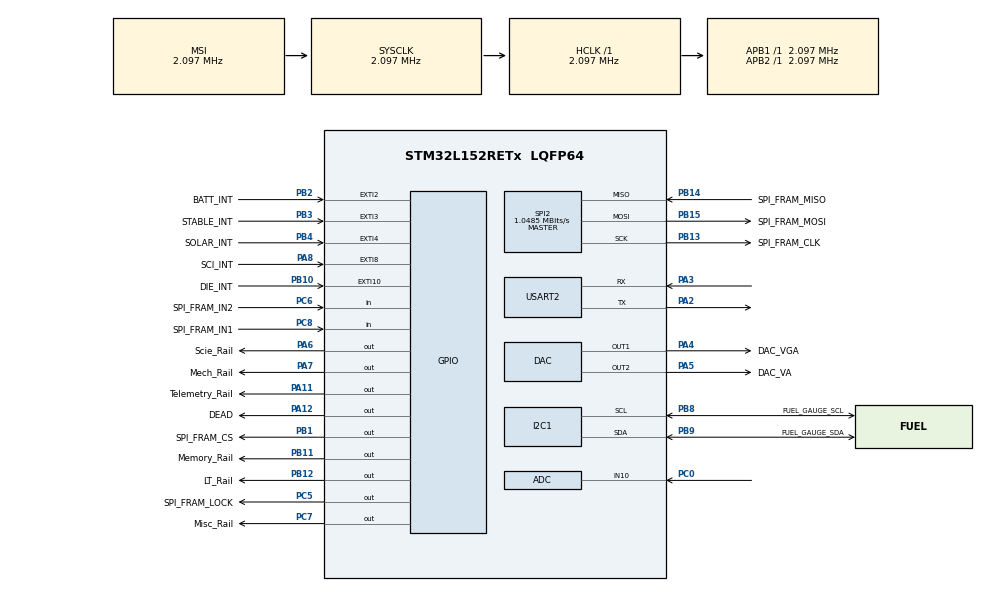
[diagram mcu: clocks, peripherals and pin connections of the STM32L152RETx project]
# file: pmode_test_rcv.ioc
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ADC.Channel-5\#ChannelRegularConversion=ADC_CHANNEL_10
ADC.NbrOfConversionFlag=1
ADC.Rank-5\#ChannelRegularConversion=1
ADC.SamplingTime-5\#ChannelRegularConversion=ADC_SAMPLETIME_4CYCLES
Mcu.Family=STM32L1
Mcu.Name=STM32L152RETx
Mcu.Package=LQFP64
NVIC.EXTI15_10_IRQn=true\:0\:0\:false\:false\:true\:true
NVIC.EXTI2_IRQn=true\:0\:0\:false\:false\:true\:true
NVIC.EXTI3_IRQn=true\:0\:0\:false\:false\:true\:true
NVIC.EXTI4_IRQn=true\:0\:0\:false\:false\:true\:true
NVIC.EXTI9_5_IRQn=true\:0\:0\:false\:false\:true\:true
NVIC.PriorityGroup=NVIC_PRIORITYGROUP_4
PA11.GPIO_Label=Telemetry_Rail
PA11.Signal=GPIO_Output
PA12.GPIO_Label=DEAD
PA12.Signal=GPIO_Output
PA2.Mode=Asynchronous
PA2.Signal=USART2_TX
PA3.Mode=Asynchronous
PA3.Signal=USART2_RX
PA4.GPIO_Label=DAC_VGA
PA4.Signal=COMP_DAC1_group
PA5.GPIO_Label=DAC_VA
PA5.Signal=COMP_DAC2_group
PA6.GPIO_Label=Scie_Rail
PA6.Signal=GPIO_Output
PA7.GPIO_Label=Mech_Rail
PA7.Signal=GPIO_Output
PA8.GPIO_Label=SCI_INT
PA8.Signal=GPXTI8
PB1.GPIO_Label=SPI_FRAM_CS
PB1.Signal=GPIO_Output
PB10.GPIO_Label=DIE_INT
PB10.Signal=GPXTI10
PB11.GPIO_Label=Memory_Rail
PB11.Signal=GPIO_Output
PB12.GPIO_Label=LT_Rail
PB12.Signal=GPIO_Output
PB13.GPIO_Label=SPI_FRAM_CLK
PB13.Mode=Full_Duplex_Master
PB13.Signal=SPI2_SCK
PB14.GPIO_Label=SPI_FRAM_MISO
PB14.Mode=Full_Duplex_Master
PB14.Signal=SPI2_MISO
PB15.GPIO_Label=SPI_FRAM_MOSI
PB15.Mode=Full_Duplex_Master
PB15.Signal=SPI2_MOSI
PB2.GPIO_Label=BATT_INT
PB2.Signal=GPXTI2
PB3.GPIO_Label=STABLE_INT
PB3.Signal=GPXTI3
PB4.GPIO_Label=SOLAR_INT
PB4.Signal=GPXTI4
PB8.GPIO_Label=FUEL_GAUGE_SCL
PB8.Mode=I2C
PB8.Signal=I2C1_SCL
PB9.GPIO_Label=FUEL_GAUGE_SDA
PB9.Mode=I2C
PB9.Signal=I2C1_SDA
PC0.Mode=IN10
PC0.Signal=ADC_IN10
PC5.GPIO_Label=SPI_FRAM_LOCK
PC5.Signal=GPIO_Output
PC6.GPIO_Label=SPI_FRAM_IN2
PC6.Signal=GPIO_Input
PC7.GPIO_Label=Misc_Rail
PC7.Signal=GPIO_Output
PC8.GPIO_Label=SPI_FRAM_IN1
PC8.Signal=GPIO_Input
ProjectManager.HeapSize=0x200
ProjectManager.StackSize=0x400
ProjectManager.TargetToolchain=MDK-ARM V5
RCC.AHBFreq_Value=2097000
RCC.APB1Freq_Value=2097000
RCC.APB2Freq_Value=2097000
RCC.HSE_VALUE=24000000
RCC.HSI_VALUE=16000000
RCC.LSE_VALUE=32768
RCC.MSI_VALUE=2097000
RCC.SYSCLKFreq_VALUE=2097000
RCC.VCOOutputFreq_Value=48000000
SH.COMP_DAC1_group.0=DAC_OUT1,DAC_OUT1
SH.COMP_DAC2_group.0=DAC_OUT2,DAC_OUT2
SPI2.CalculateBaudRate=1.0485 MBits/s
SPI2.Direction=SPI_DIRECTION_2LINES
SPI2.Mode=SPI_MODE_MASTER
SPI2.VirtualType=VM_MASTER
USART2.VirtualMode=VM_ASYNC
VP_RTC_VS_RTC_Activate.Mode=RTC_Enabled
VP_RTC_VS_RTC_Calendar.Mode=RTC_Calendar
VP_RTC_VS_RTC_WakeUp_intern.Mode=WakeUp
board=custom

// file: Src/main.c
/* USER CODE BEGIN Header */
/**
  ******************************************************************************
  * @file           : main.c
  * @brief          : Main program body
  ******************************************************************************
  ** This notice applies to any and all portions of this file
  * that are not between comment pairs USER CODE BEGIN and
  * USER CODE END. Other portions of this file, whether
  * inserted by the user or by software development tools
  * are owned by their respective copyright owners.
  *
  * COPYRIGHT(c) 2019 STMicroelectronics
  *
  * Redistribution and use in source and binary forms, with or without modification,
  * are permitted provided that the following conditions are met:
  *   1. Redistributions of source code must retain the above copyright notice,
  *      this list of conditions and the following disclaimer.
  *   2. Redistributions in binary form must reproduce the above copyright notice,
  *      this list of conditions and the following disclaimer in the documentation
  *      and/or other materials provided with the distribution.
  *   3. Neither the name of STMicroelectronics nor the names of its contributors
  *      may be used to endorse or promote products derived from this software
  *      without specific prior written permission.
  *
  * THIS SOFTWARE IS PROVIDED BY THE COPYRIGHT HOLDERS AND CONTRIBUTORS "AS IS"
  * AND ANY EXPRESS OR IMPLIED WARRANTIES, INCLUDING, BUT NOT LIMITED TO, THE
  * IMPLIED WARRANTIES OF MERCHANTABILITY AND FITNESS FOR A PARTICULAR PURPOSE ARE
  * DISCLAIMED. IN NO EVENT SHALL THE COPYRIGHT HOLDER OR CONTRIBUTORS BE LIABLE
  * FOR ANY DIRECT, INDIRECT, INCIDENTAL, SPECIAL, EXEMPLARY, OR CONSEQUENTIAL
  * DAMAGES (INCLUDING, BUT NOT LIMITED TO, PROCUREMENT OF SUBSTITUTE GOODS OR
  * SERVICES; LOSS OF USE, DATA, OR PROFITS; OR BUSINESS INTERRUPTION) HOWEVER
  * CAUSED AND ON ANY THEORY OF LIABILITY, WHETHER IN CONTRACT, STRICT LIABILITY,
  * OR TORT (INCLUDING NEGLIGENCE OR OTHERWISE) ARISING IN ANY WAY OUT OF THE USE
  * OF THIS SOFTWARE, EVEN IF ADVISED OF THE POSSIBILITY OF SUCH DAMAGE.
  *
  ******************************************************************************
  */
/* USER CODE END Header */

#include "main.h"

/* USER CODE BEGIN Includes */
#include <stdarg.h>

#include "power.h"
#include "agc.h"
/* USER CODE END Includes */

/* USER CODE BEGIN PD */
#define DEBUG (0)
/* USER CODE END PD */

ADC_HandleTypeDef hadc;

DAC_HandleTypeDef hdac;

I2C_HandleTypeDef hi2c1;

RTC_HandleTypeDef hrtc;

SPI_HandleTypeDef hspi2;

UART_HandleTypeDef huart2;

void SystemClock_Config(void);
static void MX_GPIO_Init(void);
static void MX_SPI2_Init(void);
static void MX_USART2_UART_Init(void);
static void MX_I2C1_Init(void);
static void MX_ADC_Init(void);
static void MX_DAC_Init(void);
static void MX_RTC_Init(void);
/* USER CODE BEGIN PFP */
extern void HAL_GPIO_EXTI_Callback(uint16_t GPIO_PIN); // extern so it's seen in the main
void my_printf(const char *fmt, ...);

//void HAL_Delay(__IO uint32_t Delay);
/* USER CODE END PFP */

int main(void)
{

  /* MCU Configuration--------------------------------------------------------*/

  /* Reset of all peripherals, Initializes the Flash interface and the Systick. */
  HAL_Init();

  /* Configure the system clock */
  SystemClock_Config();

  /* USER CODE BEGIN SysInit */
    __HAL_RCC_DAC_CLK_ENABLE();

  /* USER CODE END SysInit */

  /* Initialize all configured peripherals */
  MX_GPIO_Init();
  MX_SPI2_Init();
  MX_USART2_UART_Init();
  MX_I2C1_Init();
  MX_ADC_Init();
  MX_DAC_Init();
  MX_RTC_Init();
  /* USER CODE BEGIN 2 */
    HAL_ADC_Start(&hadc);
	DAC->CR |= DAC_CR_EN1;
	DAC->CR |= DAC_CR_EN2;

    //Power_Init();
    AGC_Init();
  /* USER CODE END 2 */

  /* Infinite loop */
  /* USER CODE BEGIN WHILE */

  my_printf("test\n");
  uint32_t ticks = 0;
    while (1)
    {
		// do power events
        //Power_DoEvent();

		// do AGC events
        ticks = HAL_GetTick();
        AGC_DoEvent();
        my_printf("XX %d\n", (HAL_GetTick() - ticks));
    }

    /* USER CODE END WHILE */

}

void SystemClock_Config(void)
{
  RCC_OscInitTypeDef RCC_OscInitStruct = {0};
  RCC_ClkInitTypeDef RCC_ClkInitStruct = {0};
  RCC_PeriphCLKInitTypeDef PeriphClkInit = {0};

  /**Configure the main internal regulator output voltage
  */
  __HAL_PWR_VOLTAGESCALING_CONFIG(PWR_REGULATOR_VOLTAGE_SCALE1);
  /**Initializes the CPU, AHB and APB busses clocks
  */
  RCC_OscInitStruct.OscillatorType = RCC_OSCILLATORTYPE_HSI|RCC_OSCILLATORTYPE_LSI
                              |RCC_OSCILLATORTYPE_MSI;
  RCC_OscInitStruct.HSIState = RCC_HSI_ON;
  RCC_OscInitStruct.HSICalibrationValue = RCC_HSICALIBRATION_DEFAULT;
  RCC_OscInitStruct.LSIState = RCC_LSI_ON;
  RCC_OscInitStruct.MSIState = RCC_MSI_ON;
  RCC_OscInitStruct.MSICalibrationValue = 0;
  RCC_OscInitStruct.MSIClockRange = RCC_MSIRANGE_5;
  RCC_OscInitStruct.PLL.PLLState = RCC_PLL_NONE;
  if (HAL_RCC_OscConfig(&RCC_OscInitStruct) != HAL_OK)
  {
    Error_Handler();
  }
  /**Initializes the CPU, AHB and APB busses clocks
  */
  RCC_ClkInitStruct.ClockType = RCC_CLOCKTYPE_HCLK|RCC_CLOCKTYPE_SYSCLK
                              |RCC_CLOCKTYPE_PCLK1|RCC_CLOCKTYPE_PCLK2;
  RCC_ClkInitStruct.SYSCLKSource = RCC_SYSCLKSOURCE_MSI;
  RCC_ClkInitStruct.AHBCLKDivider = RCC_SYSCLK_DIV1;
  RCC_ClkInitStruct.APB1CLKDivider = RCC_HCLK_DIV1;
  RCC_ClkInitStruct.APB2CLKDivider = RCC_HCLK_DIV1;

  if (HAL_RCC_ClockConfig(&RCC_ClkInitStruct, FLASH_LATENCY_0) != HAL_OK)
  {
    Error_Handler();
  }
  PeriphClkInit.PeriphClockSelection = RCC_PERIPHCLK_RTC;
  PeriphClkInit.RTCClockSelection = RCC_RTCCLKSOURCE_LSI;
  if (HAL_RCCEx_PeriphCLKConfig(&PeriphClkInit) != HAL_OK)
  {
    Error_Handler();
  }
}

static void MX_ADC_Init(void)
{

  ADC_ChannelConfTypeDef sConfig = {0};

  /**Configure the global features of the ADC (Clock, Resolution, Data Alignment and number of conversion)
  */
  hadc.Instance = ADC1;
  hadc.Init.ClockPrescaler = ADC_CLOCK_ASYNC_DIV1;
  hadc.Init.Resolution = ADC_RESOLUTION_12B;
  hadc.Init.DataAlign = ADC_DATAALIGN_RIGHT;
  hadc.Init.ScanConvMode = ADC_SCAN_DISABLE;
  hadc.Init.EOCSelection = ADC_EOC_SEQ_CONV;
  hadc.Init.LowPowerAutoWait = ADC_AUTOWAIT_DISABLE;
  hadc.Init.LowPowerAutoPowerOff = ADC_AUTOPOWEROFF_DISABLE;
  hadc.Init.ChannelsBank = ADC_CHANNELS_BANK_A;
  hadc.Init.ContinuousConvMode = DISABLE;
  hadc.Init.NbrOfConversion = 1;
  hadc.Init.DiscontinuousConvMode = DISABLE;
  hadc.Init.ExternalTrigConv = ADC_SOFTWARE_START;
  hadc.Init.ExternalTrigConvEdge = ADC_EXTERNALTRIGCONVEDGE_NONE;
  hadc.Init.DMAContinuousRequests = DISABLE;
  if (HAL_ADC_Init(&hadc) != HAL_OK)
  {
    Error_Handler();
  }
  /**Configure for the selected ADC regular channel its corresponding rank in the sequencer and its sample time.
  */
  sConfig.Channel = ADC_CHANNEL_10;
  sConfig.Rank = ADC_REGULAR_RANK_1;
  sConfig.SamplingTime = ADC_SAMPLETIME_4CYCLES;
  if (HAL_ADC_ConfigChannel(&hadc, &sConfig) != HAL_OK)
  {
    Error_Handler();
  }

}

static void MX_DAC_Init(void)
{

  DAC_ChannelConfTypeDef sConfig = {0};

  /**DAC Initialization
  */
  hdac.Instance = DAC;
  if (HAL_DAC_Init(&hdac) != HAL_OK)
  {
    Error_Handler();
  }
  /**DAC channel OUT1 config
  */
  sConfig.DAC_Trigger = DAC_TRIGGER_NONE;
  sConfig.DAC_OutputBuffer = DAC_OUTPUTBUFFER_ENABLE;
  if (HAL_DAC_ConfigChannel(&hdac, &sConfig, DAC_CHANNEL_1) != HAL_OK)
  {
    Error_Handler();
  }
  /**DAC channel OUT2 config
  */
  if (HAL_DAC_ConfigChannel(&hdac, &sConfig, DAC_CHANNEL_2) != HAL_OK)
  {
    Error_Handler();
  }

}

static void MX_I2C1_Init(void)
{

  hi2c1.Instance = I2C1;
  hi2c1.Init.ClockSpeed = 100000;
  hi2c1.Init.DutyCycle = I2C_DUTYCYCLE_2;
  hi2c1.Init.OwnAddress1 = 0;
  hi2c1.Init.AddressingMode = I2C_ADDRESSINGMODE_7BIT;
  hi2c1.Init.DualAddressMode = I2C_DUALADDRESS_DISABLE;
  hi2c1.Init.OwnAddress2 = 0;
  hi2c1.Init.GeneralCallMode = I2C_GENERALCALL_DISABLE;
  hi2c1.Init.NoStretchMode = I2C_NOSTRETCH_DISABLE;
  if (HAL_I2C_Init(&hi2c1) != HAL_OK)
  {
    Error_Handler();
  }

}

static void MX_RTC_Init(void)
{

  RTC_TimeTypeDef sTime = {0};
  RTC_DateTypeDef sDate = {0};

  /**Initialize RTC Only
  */
  hrtc.Instance = RTC;
  hrtc.Init.HourFormat = RTC_HOURFORMAT_24;
  hrtc.Init.AsynchPrediv = 127;
  hrtc.Init.SynchPrediv = 255;
  hrtc.Init.OutPut = RTC_OUTPUT_DISABLE;
  hrtc.Init.OutPutPolarity = RTC_OUTPUT_POLARITY_HIGH;
  hrtc.Init.OutPutType = RTC_OUTPUT_TYPE_OPENDRAIN;
  if (HAL_RTC_Init(&hrtc) != HAL_OK)
  {
    Error_Handler();
  }

  /**Initialize RTC and set the Time and Date
  */
  sTime.Hours = 0x0;
  sTime.Minutes = 0x0;
  sTime.Seconds = 0x0;
  sTime.DayLightSaving = RTC_DAYLIGHTSAVING_NONE;
  sTime.StoreOperation = RTC_STOREOPERATION_RESET;
  if (HAL_RTC_SetTime(&hrtc, &sTime, RTC_FORMAT_BCD) != HAL_OK)
  {
    Error_Handler();
  }
  sDate.WeekDay = RTC_WEEKDAY_MONDAY;
  sDate.Month = RTC_MONTH_JANUARY;
  sDate.Date = 0x1;
  sDate.Year = 0x0;

  if (HAL_RTC_SetDate(&hrtc, &sDate, RTC_FORMAT_BCD) != HAL_OK)
  {
    Error_Handler();
  }
  /**Enable the WakeUp
  */
  if (HAL_RTCEx_SetWakeUpTimer(&hrtc, 0, RTC_WAKEUPCLOCK_RTCCLK_DIV16) != HAL_OK)
  {
    Error_Handler();
  }

}

static void MX_SPI2_Init(void)
{

  /* SPI2 parameter configuration*/
  hspi2.Instance = SPI2;
  hspi2.Init.Mode = SPI_MODE_MASTER;
  hspi2.Init.Direction = SPI_DIRECTION_2LINES;
  hspi2.Init.DataSize = SPI_DATASIZE_8BIT;
  hspi2.Init.CLKPolarity = SPI_POLARITY_LOW;
  hspi2.Init.CLKPhase = SPI_PHASE_1EDGE;
  hspi2.Init.NSS = SPI_NSS_SOFT;
  hspi2.Init.BaudRatePrescaler = SPI_BAUDRATEPRESCALER_2;
  hspi2.Init.FirstBit = SPI_FIRSTBIT_MSB;
  hspi2.Init.TIMode = SPI_TIMODE_DISABLE;
  hspi2.Init.CRCCalculation = SPI_CRCCALCULATION_DISABLE;
  hspi2.Init.CRCPolynomial = 10;
  if (HAL_SPI_Init(&hspi2) != HAL_OK)
  {
    Error_Handler();
  }

}

static void MX_USART2_UART_Init(void)
{

  huart2.Instance = USART2;
  huart2.Init.BaudRate = 115200;
  huart2.Init.WordLength = UART_WORDLENGTH_8B;
  huart2.Init.StopBits = UART_STOPBITS_1;
  huart2.Init.Parity = UART_PARITY_NONE;
  huart2.Init.Mode = UART_MODE_TX_RX;
  huart2.Init.HwFlowCtl = UART_HWCONTROL_NONE;
  huart2.Init.OverSampling = UART_OVERSAMPLING_16;
  if (HAL_UART_Init(&huart2) != HAL_OK)
  {
    Error_Handler();
  }

}

static void MX_GPIO_Init(void)
{
  GPIO_InitTypeDef GPIO_InitStruct = {0};

  /* GPIO Ports Clock Enable */
  __HAL_RCC_GPIOC_CLK_ENABLE();
  __HAL_RCC_GPIOA_CLK_ENABLE();
  __HAL_RCC_GPIOB_CLK_ENABLE();

  /*Configure GPIO pin Output Level */
  HAL_GPIO_WritePin(GPIOA, Scie_Rail_Pin|Mech_Rail_Pin|Telemetry_Rail_Pin|DEAD_Pin, GPIO_PIN_RESET);

  /*Configure GPIO pin Output Level */
  HAL_GPIO_WritePin(GPIOC, SPI_FRAM_LOCK_Pin|Misc_Rail_Pin, GPIO_PIN_RESET);

  /*Configure GPIO pin Output Level */
  HAL_GPIO_WritePin(GPIOB, SPI_FRAM_CS_Pin|Memory_Rail_Pin|LT_Rail_Pin, GPIO_PIN_RESET);

  /*Configure GPIO pins : Scie_Rail_Pin Mech_Rail_Pin Telemetry_Rail_Pin DEAD_Pin */
  GPIO_InitStruct.Pin = Scie_Rail_Pin|Mech_Rail_Pin|Telemetry_Rail_Pin|DEAD_Pin;
  GPIO_InitStruct.Mode = GPIO_MODE_OUTPUT_PP;
  GPIO_InitStruct.Pull = GPIO_NOPULL;
  GPIO_InitStruct.Speed = GPIO_SPEED_FREQ_LOW;
  HAL_GPIO_Init(GPIOA, &GPIO_InitStruct);

  /*Configure GPIO pins : SPI_FRAM_LOCK_Pin Misc_Rail_Pin */
  GPIO_InitStruct.Pin = SPI_FRAM_LOCK_Pin|Misc_Rail_Pin;
  GPIO_InitStruct.Mode = GPIO_MODE_OUTPUT_PP;
  GPIO_InitStruct.Pull = GPIO_NOPULL;
  GPIO_InitStruct.Speed = GPIO_SPEED_FREQ_LOW;
  HAL_GPIO_Init(GPIOC, &GPIO_InitStruct);

  /*Configure GPIO pins : SPI_FRAM_CS_Pin Memory_Rail_Pin LT_Rail_Pin */
  GPIO_InitStruct.Pin = SPI_FRAM_CS_Pin|Memory_Rail_Pin|LT_Rail_Pin;
  GPIO_InitStruct.Mode = GPIO_MODE_OUTPUT_PP;
  GPIO_InitStruct.Pull = GPIO_NOPULL;
  GPIO_InitStruct.Speed = GPIO_SPEED_FREQ_LOW;
  HAL_GPIO_Init(GPIOB, &GPIO_InitStruct);

  /*Configure GPIO pins : BATT_INT_Pin DIE_INT_Pin STABLE_INT_Pin SOLAR_INT_Pin */
  GPIO_InitStruct.Pin = BATT_INT_Pin|DIE_INT_Pin|STABLE_INT_Pin|SOLAR_INT_Pin;
  GPIO_InitStruct.Mode = GPIO_MODE_IT_RISING;
  GPIO_InitStruct.Pull = GPIO_NOPULL;
  HAL_GPIO_Init(GPIOB, &GPIO_InitStruct);

  /*Configure GPIO pins : SPI_FRAM_IN2_Pin SPI_FRAM_IN1_Pin */
  GPIO_InitStruct.Pin = SPI_FRAM_IN2_Pin|SPI_FRAM_IN1_Pin;
  GPIO_InitStruct.Mode = GPIO_MODE_INPUT;
  GPIO_InitStruct.Pull = GPIO_NOPULL;
  HAL_GPIO_Init(GPIOC, &GPIO_InitStruct);

  /*Configure GPIO pin : SCI_INT_Pin */
  GPIO_InitStruct.Pin = SCI_INT_Pin;
  GPIO_InitStruct.Mode = GPIO_MODE_IT_RISING;
  GPIO_InitStruct.Pull = GPIO_NOPULL;
  HAL_GPIO_Init(SCI_INT_GPIO_Port, &GPIO_InitStruct);

  /* EXTI interrupt init*/
  HAL_NVIC_SetPriority(EXTI2_IRQn, 0, 0);
  HAL_NVIC_EnableIRQ(EXTI2_IRQn);

  HAL_NVIC_SetPriority(EXTI3_IRQn, 0, 0);
  HAL_NVIC_EnableIRQ(EXTI3_IRQn);

  HAL_NVIC_SetPriority(EXTI4_IRQn, 0, 0);
  HAL_NVIC_EnableIRQ(EXTI4_IRQn);

  HAL_NVIC_SetPriority(EXTI9_5_IRQn, 0, 0);
  HAL_NVIC_EnableIRQ(EXTI9_5_IRQn);

  HAL_NVIC_SetPriority(EXTI15_10_IRQn, 0, 0);
  HAL_NVIC_EnableIRQ(EXTI15_10_IRQn);

}

/* USER CODE BEGIN 4 */
#ifdef USE_DEBUG_PRINTF
/**
 * Print a printf-like string to the UART
 *
 * \param fmt	printf format string
 * \param argp	variable argument list
 */
static void vprint(const char *fmt, va_list argp) {
    char string[400];
    if(0 < vsprintf(string,fmt,argp)) // build string
    {
        HAL_UART_Transmit(&huart2, (uint8_t*)string, strlen(string), 1000); // send message via UART
    }
}
#endif

/**
 * Custom printf that prints to the UART.
 * If the preprocessor USE_DEBUG_PRINTF is not defined, then it does nothing.
 * I would use the syscalls but those didn't work for some reason.
 *
 * \param fmt	printf format string
 */
void my_printf(const char *fmt, ...) // custom printf() function
{
#ifdef USE_DEBUG_PRINTF
    va_list argp;
    va_start(argp, fmt);
    vprint(fmt, argp);
    va_end(argp);
#endif
}

#if 1
static void GPIO_DeInit(void)
{
    // set the configuration for the GPIO ports (PA, PB, PC) to be analog inputs for low power
    GPIO_InitTypeDef GPIO_InitStructure = {0};
    GPIO_InitStructure.Pin = GPIO_PIN_All;
    GPIO_InitStructure.Mode = GPIO_MODE_ANALOG;
    GPIO_InitStructure.Pull = GPIO_NOPULL;

    // GPIO_A is preserved to keep output status unchanged and have
    // Interrupt working for waking Up.
    // GPIO_B and GPIO_C are disabled
    HAL_GPIO_Init(GPIOB, &GPIO_InitStructure);
    __HAL_RCC_GPIOB_CLK_DISABLE();
    HAL_GPIO_Init(GPIOC, &GPIO_InitStructure);
    __HAL_RCC_GPIOC_CLK_DISABLE();
}

void HAL_Delay(__IO uint32_t Delay)
{
    // the RTC is clocked by LSI, which means Wake Up clock is RTCCLK /16
    uint32_t TimeValue = (Delay * (LSI_VALUE / 16)) / 1000;
    HAL_RTCEx_SetWakeUpTimer_IT(&hrtc, TimeValue, RTC_WAKEUPCLOCK_RTCCLK_DIV16);

    __HAL_RCC_PWR_CLK_ENABLE(); // Enable Power Control clock
    HAL_PWREx_EnableUltraLowPower(); // Ultra low power mode
    HAL_PWREx_EnableFastWakeUp(); // Fast wake-up for ultra low power mode

    // turn off GPIO to save power
    GPIO_DeInit();

    HAL_ADC_DeInit(&hadc);
    HAL_UART_DeInit(&huart2);
    HAL_SPI_DeInit(&hspi2);
    HAL_I2C_DeInit(&hi2c1);

    // switch to STOP mode
    // the microcontroller is sleeping in this function. It will resume on interrupt
    EXTI->PR = 0xFFFFFFFF; // https://community.st.com/s/question/0D50X00009Xke5iSAB/enter-and-exit-stop-mode-with-rtc-and-exti
    HAL_PWR_EnterSTOPMode(PWR_LOWPOWERREGULATOR_ON, PWR_STOPENTRY_WFI);

    // Now we're waking up, so set up clocks again
    SystemClock_Config();

    // Deactivate RTC wakeUp
    HAL_RTCEx_DeactivateWakeUpTimer(&hrtc);

    // Reinit GPIOs
    MX_GPIO_Init();
    MX_SPI2_Init();
    MX_USART2_UART_Init();
    MX_I2C1_Init();
    MX_ADC_Init();
    HAL_ADC_Start(&hadc);

}
#endif
/* USER CODE END 4 */

void Error_Handler(void)
{
}

/************************ (C) COPYRIGHT STMicroelectronics *****END OF FILE****/
